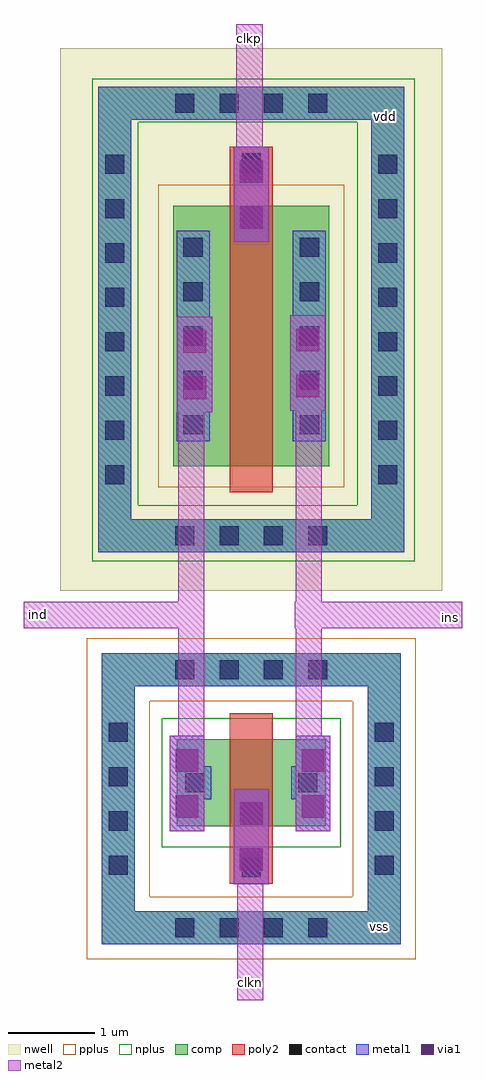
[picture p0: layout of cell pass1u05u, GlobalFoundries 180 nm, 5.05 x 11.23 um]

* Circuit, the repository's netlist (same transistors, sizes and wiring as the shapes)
** sch_path: /foss/designs/libs/core_analog/pass1u05u/pass1u05u.sch
.subckt pass1u05u ind vss clkn ins clkp vdd
*.PININFO ind:B ins:B clkn:B clkp:B vdd:B vss:B
M1 ind clkp ins vdd pfet_03v3 L=0.5u W=3.0u nf=1 m=1
M2 ind clkn ins vss nfet_03v3 L=0.5u W=1.0u nf=1 m=1
.ends

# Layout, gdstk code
import gdstk
lib = gdstk.Library(unit=1e-6, precision=5e-09)
def R(c, l, rs):  # rectangles x0, y0, x1, y1
    for r in rs: c.add(gdstk.rectangle(r[:2], r[2:], *l))
def A(c, l, x, y, w, h, nx, ny, dx, dy):  # array of equal rectangles
    R(c, l, [(x+i*dx, y+j*dy, x+i*dx+w, y+j*dy+h) for i in range(nx) for j in range(ny)])
def P(c, l, *ps):  # polygons
    for p in ps: c.add(gdstk.Polygon(p, *l))
nwell = (21, 0)
comp = (22, 0)
poly2 = (30, 0)
pplus = (31, 0)
nplus = (32, 0)
contact = (33, 0)
metal1 = (34, 0)
via1 = (35, 0)
metal2 = (36, 0)

via_dev_1 = lib.new_cell('via_dev$1')
R(via_dev_1, metal1, [(0,0,0.4,1.1)])
R(via_dev_1, via1, [(0.07,0.155,0.33,0.415), (0.07,0.685,0.33,0.945)])
R(via_dev_1, metal2, [(0,0,0.4,1.1)])

pfet_1 = lib.new_cell('pfet$1')
R(pfet_1, nwell, [(-1.76,-1.43,2.64,4.81)])
R(pfet_1, comp, [(-0.46,0,0,3), (0,0,0.88,3), (0.88,0,1.34,3)])
P(pfet_1, comp, [(-1.32,-0.99),(-1.32,3.99),(-0.94,3.99),(-0.94,-0.61),(1.82,-0.61),(1.82,3.99),(-1.32,3.99),(-1.32,4.37),(2.2,4.37),(2.2,-0.99)])
R(pfet_1, poly2, [(0.19,-0.3,0.69,3.3), (0.19,3.3,0.69,3.68)])
R(pfet_1, pplus, [(-0.63,-0.24,1.51,3.24)])
A(pfet_1, contact, -0.435, -0.91, 0.22, 0.22, 4, 2, 0.51, 4.98)
A(pfet_1, contact, -1.24, -0.205, 0.22, 0.22, 1, 8, 0, 0.51)
A(pfet_1, contact, 1.9, -0.205, 0.22, 0.22, 1, 8, 0, 0.51)
A(pfet_1, contact, -0.34, 0.37, 0.22, 0.22, 1, 5, 0, 0.51)
A(pfet_1, contact, 1, 0.37, 0.22, 0.22, 1, 5, 0, 0.51)
R(pfet_1, contact, [(0.33,3.38,0.55,3.6)])
R(pfet_1, metal1, [(-0.42,0.29,-0.04,2.71), (0.92,0.29,1.3,2.71), (0.25,3.3,0.63,3.68)])

nfet = lib.new_cell('nfet')
R(nfet, comp, [(-0.42,0,0,1), (0,0,0.88,1), (0.88,0,1.3,1)])
P(nfet, comp, [(-1.28,-1.36),(-1.28,1.61),(-0.9,1.61),(-0.9,-0.98),(1.78,-0.98),(1.78,1.61),(-1.28,1.61),(-1.28,1.99),(2.16,1.99),(2.16,-1.36)])
R(nfet, poly2, [(0.19,-0.66,0.69,-0.3), (0.19,-0.3,0.69,1.3)])
P(nfet, pplus, [(-1.45,-1.53),(-1.45,1.44),(-0.73,1.44),(-0.73,-0.81),(1.61,-0.81),(1.61,1.44),(-1.45,1.44),(-1.45,2.16),(2.33,2.16),(2.33,-1.53)])
R(nfet, nplus, [(-0.59,-0.24,1.47,1.24)])
A(nfet, contact, -0.435, -1.28, 0.22, 0.22, 4, 2, 0.51, 2.97)
A(nfet, contact, -1.2, -0.56, 0.22, 0.22, 1, 4, 0, 0.51)
A(nfet, contact, 1.86, -0.56, 0.22, 0.22, 1, 4, 0, 0.51)
R(nfet, contact, [(0.33,-0.59,0.55,-0.37), (-0.32,0.39,-0.1,0.61), (0.98,0.39,1.2,0.61)])
R(nfet, metal1, [(0.25,-0.67,0.63,-0.29), (-0.4,0.31,-0.02,0.69), (0.9,0.31,1.28,0.69)])

pass1u05u = lib.new_cell('pass1u05u')
R(pass1u05u, nplus, [(2.82,1,3.35,6.54), (2.82,1,6.53,1.64), (5.87,1,6.53,6.55), (2.82,6.05,6.53,6.55)])
R(pass1u05u, metal1, [(2.93,-3.41,3.31,-0.06), (3.31,-3.41,6.37,-3.03), (5.99,-3.03,6.37,-0.06), (3.31,-0.44,5.99,-0.06), (2.89,1.1,3.27,6.46), (3.27,1.1,6.41,1.48), (6.03,1.48,6.41,6.46), (3.27,6.08,6.03,6.46)])
pass1u05u.add(gdstk.FlexPath([(3.96,2.865),(3.96,-2.11)], 0.3, ends="flush", simple_path=True, layer=36, datatype=0))  # metal2
pass1u05u.add(gdstk.FlexPath([(5.31,2.865),(5.31,-2.11)], 0.3, ends="flush", simple_path=True, layer=36, datatype=0))  # metal2
pass1u05u.add(gdstk.FlexPath([(4.64,-2.42),(4.64,-4.05)], 0.3, ends="flush", simple_path=True, layer=36, datatype=0))  # metal2
pass1u05u.add(gdstk.FlexPath([(4.63,5.39),(4.63,7.18)], 0.3, ends="flush", simple_path=True, layer=36, datatype=0))  # metal2
pass1u05u.add(gdstk.FlexPath([(3.96,0.38),(2.03,0.38)], 0.3, ends="flush", simple_path=True, layer=36, datatype=0))  # metal2
pass1u05u.add(gdstk.FlexPath([(7.08,0.38),(5.15,0.38)], 0.3, ends="flush", simple_path=True, layer=36, datatype=0))  # metal2
pass1u05u.add(gdstk.Reference(via_dev_1, (3.71,-2.11)))
pass1u05u.add(gdstk.Reference(via_dev_1, (5.16,-2.11)))
pass1u05u.add(gdstk.Reference(via_dev_1, (3.8,2.71)))
pass1u05u.add(gdstk.Reference(via_dev_1, (5.1,2.73)))
pass1u05u.add(gdstk.Reference(pfet_1, (4.21,2.09)))
pass1u05u.add(gdstk.Reference(nfet, (4.21,-2.05)))
pass1u05u.add(gdstk.Reference(via_dev_1, (4.45,4.67)))
pass1u05u.add(gdstk.Reference(via_dev_1, (4.45,-2.72)))
pass1u05u.add(gdstk.Label('vdd', (6.2,6.12), layer=34, texttype=10))
pass1u05u.add(gdstk.Label('vss', (6.12,-3.2), layer=34, texttype=10))
pass1u05u.add(gdstk.Label('ind', (2.2,0.38), layer=36, texttype=10))
pass1u05u.add(gdstk.Label('ins', (6.94,0.35), layer=36, texttype=10))
pass1u05u.add(gdstk.Label('clkp', (4.63,7.01), layer=36, texttype=10))
pass1u05u.add(gdstk.Label('clkn', (4.64,-3.85), layer=36, texttype=10))

lib.write_gds('pass1u05u.gds')
